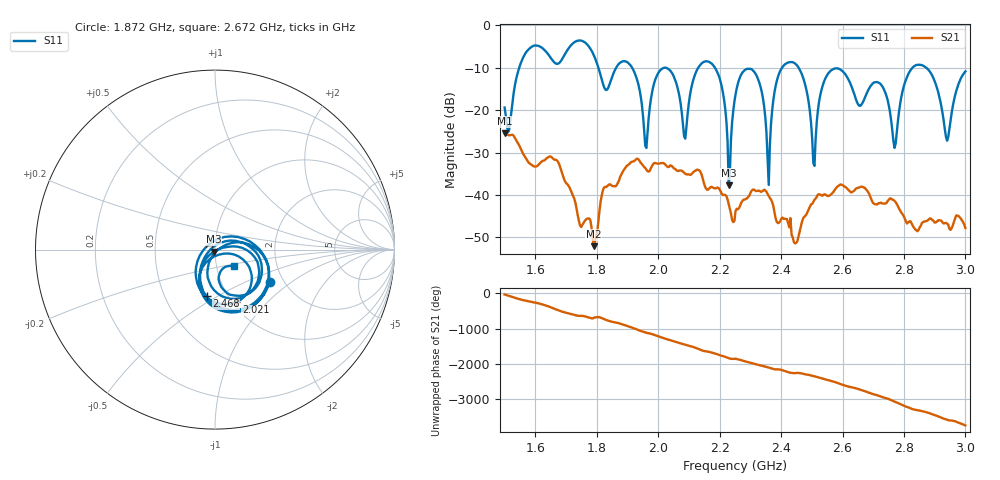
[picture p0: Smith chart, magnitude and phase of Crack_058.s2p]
# HZ S RI R 50
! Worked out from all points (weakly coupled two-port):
!   404 points, 1.5 GHz to 3 GHz, reference 50 ohm
!   highest |S21| = -25.50 dB at 1.5 GHz (marker M1); lowest = -52.1 dB at 1.79 GHz (marker M2)
!   lowest |S11| = -37.7 dB at 2.23 GHz (marker M3), VSWR 1.03, Z = 49.3 - j1.07 ohm
!   |S11| at or under -10 dB: 2.185 GHz to 2.403 GHz (218.5 MHz wide, 9.53 % of centre); 2.457 GHz to 2.828 GHz (370.6 MHz wide, 14 % of centre); 2.872 GHz to end of sweep (the widest 3 of 7)
!   S12 and S22 are empty: the file has one direction only
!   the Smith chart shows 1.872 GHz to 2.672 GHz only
!   S11 on the Smith chart (normalised r, x): 1.872 GHz: 1.70, -0.69; 2.021 GHz: 1.04, -0.68; 2.468 GHz: 0.80, -0.45; 2.672 GHz: 1.21, -0.23
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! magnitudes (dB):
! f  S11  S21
! 1.5 GHz  -19.4  -25.5
! 1.753 GHz  -3.7  -47.0
! 1.79 GHz  -7.0  -52.1
! 1.872 GHz  -9.0  -36.7
! 1.962 GHz  -28.9  -34.0
! 2.002 GHz  -11.0  -32.6
! 2.021 GHz  -10.0  -32.7
! 2.088 GHz  -26.7  -35.0
! 2.181 GHz  -9.6  -38.4
! 2.23 GHz  -37.7  -42.2
! 2.252 GHz  -16.3  -43.8
! 2.315 GHz  -11.2  -38.9
! 2.36 GHz  -37.7  -40.3
! 2.397 GHz  -10.8  -46.2
! 2.468 GHz  -11.6  -46.4
! 2.501 GHz  -26.7  -42.1
! 2.565 GHz  -10.5  -39.8
! 2.672 GHz  -17.2  -38.3
! 2.751 GHz  -18.9  -41.1
! 2.862 GHz  -9.5  -46.4
! 2.94 GHz  -27.2  -46.8
! 3 GHz  -10.9  -47.8
